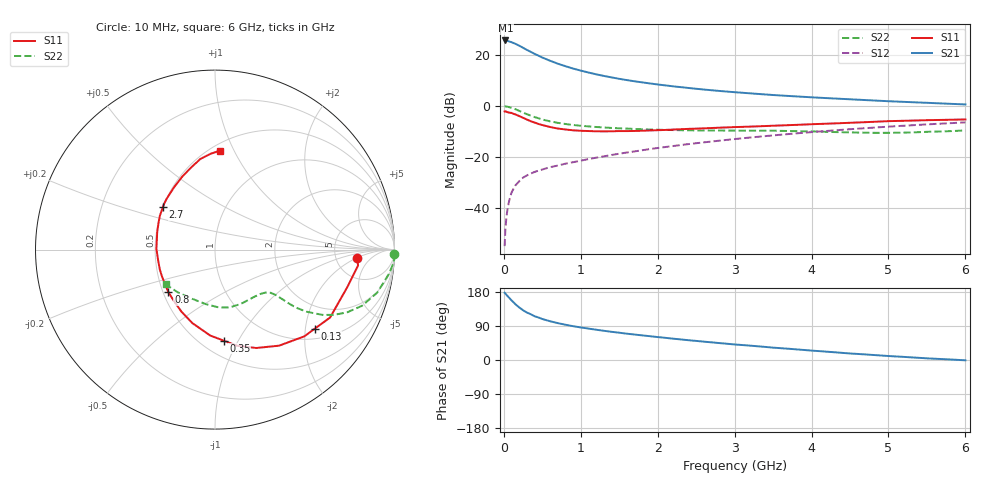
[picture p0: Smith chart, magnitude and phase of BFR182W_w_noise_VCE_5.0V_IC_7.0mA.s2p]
! Infineon Technologies  Discrete & RF Semiconductors
! BFR182W
! VCE =  5.0 V,  IC =  7.0 mA
! Common Emitter S-Parameters:  Jan 2017
# GHz  S  MA  R  50
!  f  S11  S21  S12  S22
! GHz  MAG  ANG  MAG  ANG  MAG  ANG  MAG  ANG
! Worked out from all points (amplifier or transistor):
!   77 points, 10 MHz to 6 GHz, reference 50 ohm
!   highest |S21| = 25.8 dB at 20 MHz (marker M1)
!   |S21| within 3 dB of that: start of sweep to 257.8 MHz
!   unconditionally stable (mu >= 1): 1.23 GHz to 2.746 GHz
!   at 130 MHz: K = 0.22, MSG = 28.4 dB, |S12| = -32.1 dB
!   at 2.2 GHz: K = 1.04, MAG = 10.6 dB, |S12| = -15.6 dB
!   at 6 GHz: K = 0.85, MSG = 3.5 dB, |S12| = -6.3 dB
!   lowest NFmin = 0.95 dB at 450 MHz
!   S11 on the Smith chart (normalised r, x): 10 MHz: 8.14, -2.00; 130 MHz: 1.27, -2.25; 350 MHz: 0.64, -0.87; 800 MHz: 0.53, -0.29; 2.7 GHz: 0.50, +0.28; 6 GHz: 0.56, +0.88
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0.01  0.7924 -3.3  19.54 177.4  0.0018 90.5  0.9981 -1.5
0.02  0.802 -6.3  19.61 175.3  0.0038 92.9  1 -3.3
0.05  0.7669 -15.6  19.2 168.3  0.01 82.6  0.9795 -7.8
0.1  0.7446 -30.5  18.18 157.3  0.0202 76.0  0.9349 -14.9
0.13  0.7094 -38.4  17.33 151.5  0.0248 71.3  0.899 -18.4
0.15  0.694 -44.1  16.87 147.3  0.028 69.1  0.8771 -20.9
0.2  0.6435 -56.3  15.45 138.7  0.0338 65.3  0.8149 -25.4
0.25  0.5942 -67.3  14.09 131.2  0.0398 62.1  0.7551 -28.8
0.3  0.5492 -77.1  12.79 125.2  0.0441 59.1  0.6997 -31.3
0.35  0.5093 -84.6  11.71 120.8  0.0478 58.1  0.6569 -32.7
0.4  0.4794 -93.2  10.71 115.5  0.0516 57.2  0.6146 -34.2
0.5  0.4285 -107.1  9.065 108.2  0.0575 56.5  0.5516 -35.7
0.6  0.3928 -118.5  7.848 102.3  0.0639 56.0  0.5073 -36.1
0.8  0.3515 -137.6  6.134 93.1  0.0748 58.5  0.4501 -36.5
1.1  0.327 -159.7  4.604 82.9  0.0921 60.2  0.4038 -37.4
1.5  0.3268 179.2  3.464 72.0  0.1174 62.1  0.37 -40.3
2.1  0.3442 156.9  2.574 58.5  0.159 62.3  0.3444 -48.9
2.7  0.3748 140.7  2.068 46.6  0.2038 60.5  0.335 -60.4
3.1  0.395 131.3  1.845 39.5  0.2357 58.5  0.3329 -68.1
4.1  0.4506 112.6  1.475 23.4  0.32 51.6  0.3188 -88.7
5.1  0.5156 97.8  1.241 9.3  0.4072 42.8  0.3028 -118.2
6  0.5527 87.0  1.088 -0.8  0.4833 33.7  0.3362 -144.8
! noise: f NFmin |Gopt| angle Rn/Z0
0.45  0.95  0.17  35  0.16
0.9  1.04  0.15  63  0.15
1.9  1.57  0.18  174  0.13
2.4  1.84  0.19  -178  0.18
